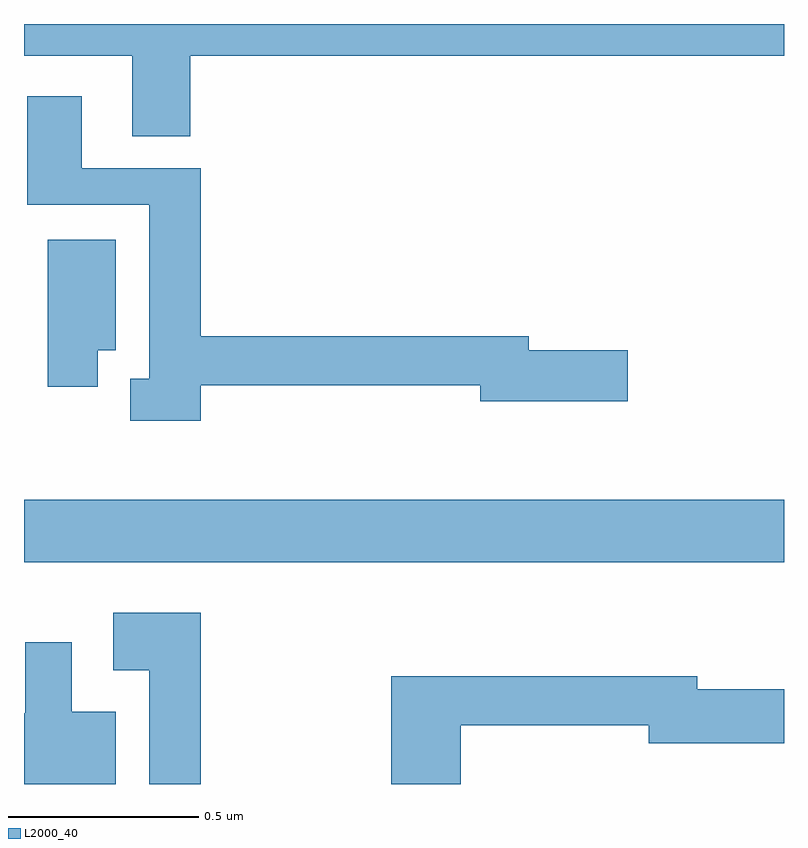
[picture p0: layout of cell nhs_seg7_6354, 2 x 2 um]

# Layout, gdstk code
import gdstk
lib = gdstk.Library(unit=1e-6, precision=1e-09)
def R(c, l, rs):  # rectangles x0, y0, x1, y1
    for r in rs: c.add(gdstk.rectangle(r[:2], r[2:], *l))
def P(c, l, *ps):  # polygons
    for p in ps: c.add(gdstk.Polygon(p, *l))
L2000_40 = (2000, 40)

nhs_seg7_6354 = lib.new_cell('nhs_seg7_6354')
R(nhs_seg7_6354, L2000_40, [(197,1032.584,199,1032.748)])
P(nhs_seg7_6354, L2000_40, [(197.438,1033.916),(199,1033.916),(199,1034),(197,1034),(197,1033.916),(197.285,1033.916),(197.285,1033.705),(197.438,1033.705)],
  [(197.465,1033.05),(198.2,1033.05),(198.2,1033.007),(198.589,1033.007),(198.589,1033.142),(198.328,1033.142),(198.328,1033.178),(197.465,1033.178),(197.465,1033.62),(197.152,1033.62),(197.152,1033.81),(197.009,1033.81),(197.009,1033.524),(197.33,1033.524),(197.33,1033.066),(197.279,1033.066),(197.279,1032.956),(197.465,1032.956)],
  [(197.194,1033.142),(197.242,1033.142),(197.242,1033.432),(197.063,1033.432),(197.063,1033.046),(197.194,1033.046)],
  [(197.465,1032.451),(197.235,1032.451),(197.235,1032.299),(197.33,1032.299),(197.33,1032),(197.465,1032)],
  [(197.242,1032.19),(197.125,1032.19),(197.125,1032.373),(197.003,1032.373),(197.003,1032.186),(197,1032.186),(197,1032),(197.242,1032)],
  [(198.149,1032.154),(198.644,1032.154),(198.644,1032.107),(199,1032.107),(199,1032.249),(198.772,1032.249),(198.772,1032.283),(197.966,1032.283),(197.966,1032),(198.149,1032)])

lib.write_gds('nhs_seg7_6354.gds')
